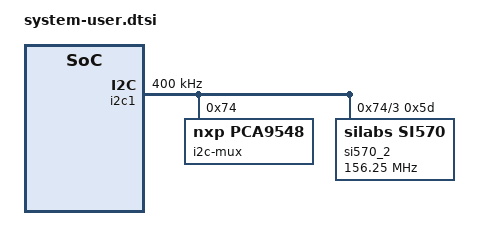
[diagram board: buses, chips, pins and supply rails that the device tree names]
/include/ "system-conf.dtsi"
/ {
    chosen {
        bootargs = "cpuidle.off=1";
    };
};

&usxgmii_usxgmii_0{
	xlnx,usxgmii-rate = <10000>;
	xlnx,channel-ids = <0x01>;
	clock-names = "rx_core_clk", "dclk", "s_axi_aclk", "m_axi_mm2s_aclk", "m_axi_s2mm_aclk", "m_axi_sg_aclk", "s_axi_lite_aclk";
	clocks = <&misc_clk_0>, <&zynqmp_clk 72>, <&zynqmp_clk 71>, <&misc_clk_0>, <&misc_clk_0>, <&zynqmp_clk 71>, <&zynqmp_clk 71>;
};

&i2c1 {
    status = "okay";
    clock-frequency = <400000>;
    i2c-mux@74 { /* u34 */
        compatible = "nxp,pca9548";
        #address-cells = <1>;
        #size-cells = <0>;
        reg = <0x74>;
        i2c@3 { /* i2c mw 74 0 8 */
            #address-cells = <1>;
            #size-cells = <0>;
            reg = <3>;
            si570_2: clock-generator@5d {
                #clock-cells = <0>;
                compatible = "silabs,si570";
                reg = <0x5d>;
                temperature-stability = <50>;
                factory-fout = <156250000>;
                clock-frequency = <156250000>;
            };
        };
    };
};
